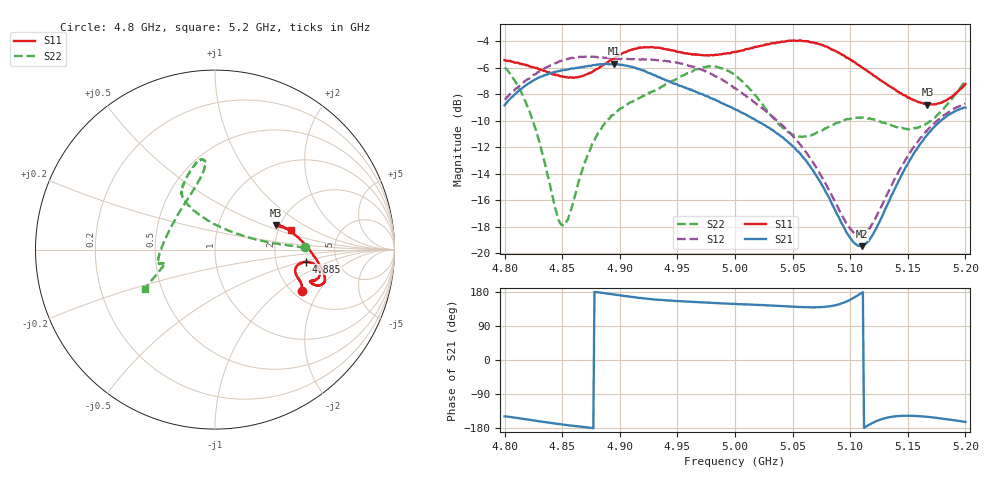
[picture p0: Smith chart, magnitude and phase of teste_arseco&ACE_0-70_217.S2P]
! Network Analyzer HP8722D
! Hewlett-Packard
! Data name: Linha & Wilkinson
! Saver's name: Rodrigo Anjos
! Comments: Teste da utilização de aquisição
! continua pelo VNA HP8722D
! Time and date: 8/5/2025 14:34
!  Frequency  S11  S21  S12  S22
# HZ  S  MA R 50
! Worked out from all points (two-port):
!   401 points, 4.8 GHz to 5.2 GHz, reference 50 ohm
!   highest |S21| = -5.68 dB at 4.895 GHz (marker M1); lowest = -19.5 dB at 5.11 GHz (marker M2)
!   |S21| within 3 dB of the highest: 4.801 GHz to 4.989 GHz (187.5 MHz wide, 3.83 % of centre)
!   lowest |S11| = -8.8 dB at 5.167 GHz (marker M3), VSWR 2.15, Z = 94.7 + j30.1 ohm
!   |S11| at or under -10 dB: nowhere
!   |S22| runs from -17.9 to -5.9 dB; largest |S21 - S12| = 1.1
!   S11 on the Smith chart (normalised r, x): 4.8 GHz: 2.24, -1.44; 4.885 GHz: 2.99, -0.54; 5.2 GHz: 2.33, +0.64
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4.8e9  0.5365 -25.3  0.3624 -148.7  0.3816 10.7  0.5029 1.5
4.812e9  0.5229 -22.3  0.4097 -153.5  0.426 8.8  0.4246 2.7
4.823e9  0.5062 -20.4  0.4447 -158.5  0.4626 7.5  0.33 6.1
4.849e9  0.4652 -16.0  0.4903 -169.9  0.5323 3.4  0.1285 58.3
4.855e9  0.4611 -14.3  0.4951 -172.1  0.5425 2.3  0.1341 84.9
4.867e9  0.4657 -11.0  0.5055 -176.4  0.5517 0.7  0.2033 112.4
4.885e9  0.5124 -7.5  0.5177 177.2  0.5497 -0.7  0.3013 121.2
4.895e9  0.547 -7.7  0.52 172.9  0.5411 -0.7  0.3344 121.7
4.916e9  0.5974 -11.6  0.4971 164.2  0.5389 -0.2  0.384 118.7
4.934e9  0.5974 -15.3  0.4621 158.8  0.5361 -1.2  0.4188 113.2
4.975e9  0.5594 -18.5  0.3923 151.5  0.4866 -4.9  0.5067 99.5
5e9  0.5765 -19.3  0.3495 148.0  0.4204 -5.0  0.4717 96.9
5.018e9  0.6019 -19.5  0.3179 145.8  0.3679 -2.4  0.3938 103.4
5.044e9  0.6322 -17.4  0.2678 141.7  0.2951 3.1  0.2924 131.3
5.067e9  0.6263 -13.4  0.2077 139.1  0.2231 9.6  0.28 164.4
5.098e9  0.5468 -2.8  0.1177 156.0  0.1275 36.8  0.3218 -170.4
5.11e9  0.5037 2.7  0.1064 177.5  0.1175 60.7  0.326 -167.0
5.119e9  0.4751 7.3  0.1164 -166.5  0.1287 77.8  0.3208 -166.0
5.134e9  0.4281 14.3  0.1581 -150.9  0.1735 94.7  0.3052 -165.6
5.167e9  0.3644 22.2  0.2802 -150.0  0.2919 102.7  0.3099 -161.5
5.182e9  0.376 20.4  0.3253 -155.5  0.3335 102.8  0.3554 -156.8
5.2e9  0.4355 14.9  0.3547 -163.4  0.3676 103.2  0.4473 -150.5
